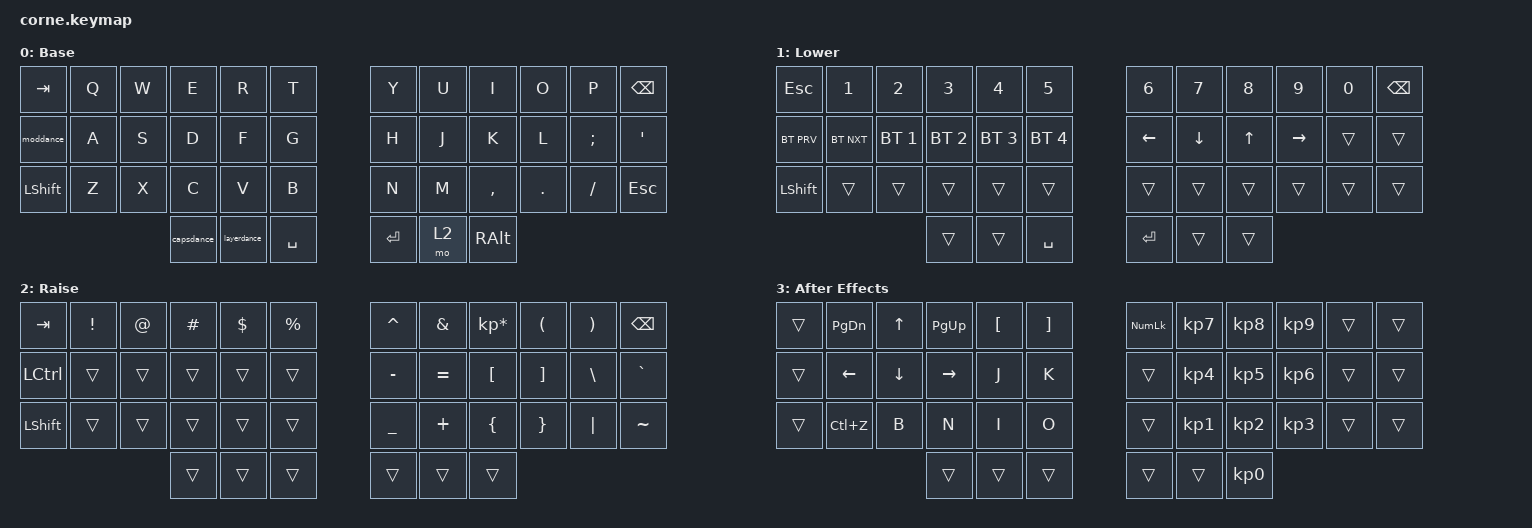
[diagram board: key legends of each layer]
/*
 * Copyright (c) 2020 The ZMK Contributors
 *
 * SPDX-License-Identifier: MIT
 */

#include <behaviors.dtsi>
#include <dt-bindings/zmk/bt.h>
#include <dt-bindings/zmk/keys.h>

/ {
    behaviors {
        layerdance: layerdance {
            compatible = "zmk,behavior-tap-dance";
            label = "LAYERDANCE";
            #binding-cells = <0>;
            bindings = <&mo 1>, <&tog 3>;
        };

        moddance: moddance {
            compatible = "zmk,behavior-tap-dance";
            label = "MODDANCE";
            #binding-cells = <0>;
            bindings = <&kp LCTRL>, <&kp LEFT_ALT>, <&kp LEFT_GUI>;
        };

        capsdance: capsdance {
            compatible = "zmk,behavior-tap-dance";
            label = "CAPSDANCE";
            #binding-cells = <0>;
            bindings = <&kp LEFT_GUI>, <&kp CAPS>;
        };
    };

    keymap {
        compatible = "zmk,keymap";

        default_layer {
            // -----------------------------------------------------------------------------------------
            // |  TAB |  Q  |  W  |  E  |  R  |  T  |   |  Y  |  U   |  I  |  O  |  P  | BKSP |
            // | CTRL |  A  |  S  |  D  |  F  |  G  |   |  H  |  J   |  K  |  L  |  ;  |  '   |
            // | SHFT |  Z  |  X  |  C  |  V  |  B  |   |  N  |  M   |  ,  |  .  |  /  | ESC  |
            //                    | GUI | LWR | SPC |   | ENT | RSE  | ALT |

            display-name = "Base";
            bindings = <
&kp TAB    &kp Q  &kp W  &kp E       &kp R        &kp T        &kp Y    &kp U  &kp I      &kp O    &kp P     &kp BSPC
&moddance  &kp A  &kp S  &kp D       &kp F        &kp G        &kp H    &kp J  &kp K      &kp L    &kp SEMI  &kp SQT
&kp LSHFT  &kp Z  &kp X  &kp C       &kp V        &kp B        &kp N    &kp M  &kp COMMA  &kp DOT  &kp FSLH  &kp ESC
                         &capsdance  &layerdance  &kp SPACE    &kp RET  &mo 2  &kp RALT
            >;
        };

        lower_layer {
            // -----------------------------------------------------------------------------------------
            // |  TAB |  1  |  2  |  3  |  4  |  5  |   |  6  |  7  |  8  |  9  |  0  | BKSP |
            // | BTCLR| BT1 | BT2 | BT3 | BT4 | BT5 |   | LFT | DWN |  UP | RGT |     |      |
            // | SHFT |     |     |     |     |     |   |     |     |     |     |     |      |
            //                    | GUI |     | SPC |   | ENT |     | ALT |

            display-name = "Lower";
            bindings = <
&kp ESCAPE  &kp N1      &kp N2        &kp N3        &kp N4        &kp N5          &kp N6    &kp N7    &kp N8  &kp N9     &kp N0  &kp BSPC
&bt BT_PRV  &bt BT_NXT  &bt BT_SEL 1  &bt BT_SEL 2  &bt BT_SEL 3  &bt BT_SEL 4    &kp LEFT  &kp DOWN  &kp UP  &kp RIGHT  &trans  &trans
&kp LSHFT   &trans      &trans        &trans        &trans        &trans          &trans    &trans    &trans  &trans     &trans  &trans
                                      &trans        &trans        &kp SPACE       &kp RET   &trans    &trans
            >;
        };

        raise_layer {
            // -----------------------------------------------------------------------------------------
            // |  TAB |  !  |  @  |  #  |  $  |  %  |   |  ^  |  &  |  *  |  (  |  )  | BKSP |
            // | CTRL |     |     |     |     |     |   |  -  |  =  |  [  |  ]  |  \  |  `   |
            // | SHFT |     |     |     |     |     |   |  _  |  +  |  {  |  }  | "|" |  ~   |
            //                    | GUI |     | SPC |   | ENT |     | ALT |

            display-name = "Raise";
            bindings = <
&kp TAB    &kp EXCL  &kp AT  &kp HASH  &kp DLLR  &kp PRCNT    &kp CARET  &kp AMPS   &kp KP_MULTIPLY  &kp LPAR  &kp RPAR  &kp BSPC
&kp LCTRL  &trans    &trans  &trans    &trans    &trans       &kp MINUS  &kp EQUAL  &kp LBKT         &kp RBKT  &kp BSLH  &kp GRAVE
&kp LSHFT  &trans    &trans  &trans    &trans    &trans       &kp UNDER  &kp PLUS   &kp LBRC         &kp RBRC  &kp PIPE  &kp TILDE
                             &trans    &trans    &trans       &trans     &trans     &trans
            >;
        };

        aftereffects {
            bindings = <
&trans  &kp PAGE_DOWN  &kp UP    &kp PAGE_UP  &kp LEFT_BRACKET  &kp RIGHT_BRACKET    &kp KP_NUMLOCK  &kp KP_NUMBER_7  &kp KP_NUMBER_8  &kp KP_NUMBER_9  &trans  &trans
&trans  &kp LEFT       &kp DOWN  &kp RIGHT    &kp J             &kp K                &trans          &kp KP_NUMBER_4  &kp KP_NUMBER_5  &kp KP_NUMBER_6  &trans  &trans
&trans  &kp LC(Z)      &kp B     &kp N        &kp I             &kp O                &trans          &kp KP_NUMBER_1  &kp KP_NUMBER_2  &kp KP_NUMBER_3  &trans  &trans
                                 &trans       &trans            &trans               &trans          &trans           &kp KP_NUMBER_0
            >;

            label = "After Effects";
        };
    };
};
